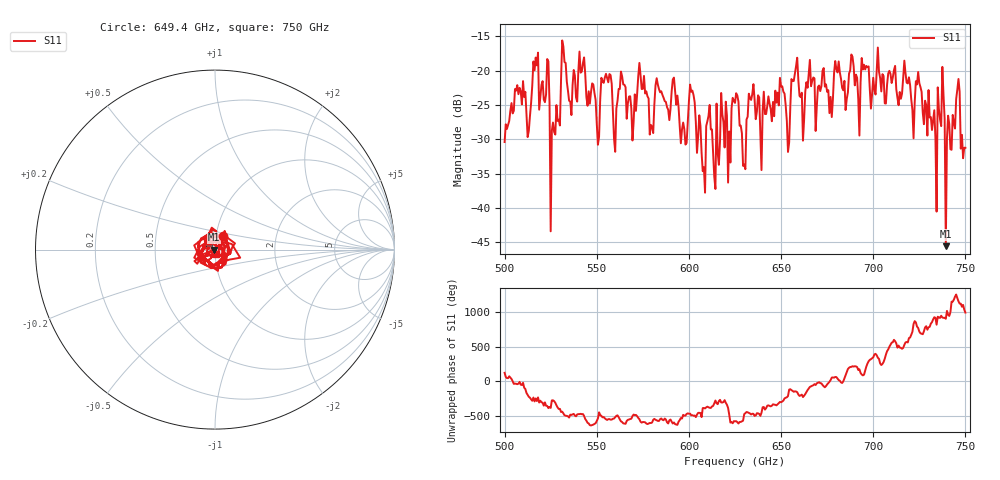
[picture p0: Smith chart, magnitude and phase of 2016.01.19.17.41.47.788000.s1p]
!Created with skrf (http://scikit-rf.org).
# GHz S RI R 50.0
!freq ReS11 ImS11
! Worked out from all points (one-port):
!   401 points, 500 GHz to 750 GHz, reference 50 ohm
!   lowest |S11| = -45.6 dB at 739.4 GHz (marker M1), VSWR 1.01, Z = 49.5 - j0.0712 ohm
!   |S11| at or under -10 dB: start of sweep to end of sweep
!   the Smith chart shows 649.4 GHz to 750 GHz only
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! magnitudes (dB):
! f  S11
! 500 GHz  -30.4
! 506.9 GHz  -22.1
! 513.1 GHz  -28.8
! 516.9 GHz  -18.1
! 523.1 GHz  -18.3
! 526.2 GHz  -27.6
! 531.2 GHz  -15.6
! 541.9 GHz  -20.1
! 550.6 GHz  -30.8
! 553.8 GHz  -21.8
! 562.5 GHz  -22.7
! 593.8 GHz  -23.6
! 597.5 GHz  -28.5
! 601.9 GHz  -22.9
! 608.1 GHz  -34.1
! 610.6 GHz  -26.6
! 615 GHz  -24.8
! 625 GHz  -24.7
! 629.4 GHz  -33.9
! 633.8 GHz  -24.3
! 650.6 GHz  -22.3
! 653.8 GHz  -31.8
! 656.2 GHz  -21.5
! 687.5 GHz  -20.0
! 718.8 GHz  -21.9
! 739.4 GHz  -45.6
! 745.6 GHz  -22.8
! 750 GHz  -31.2
